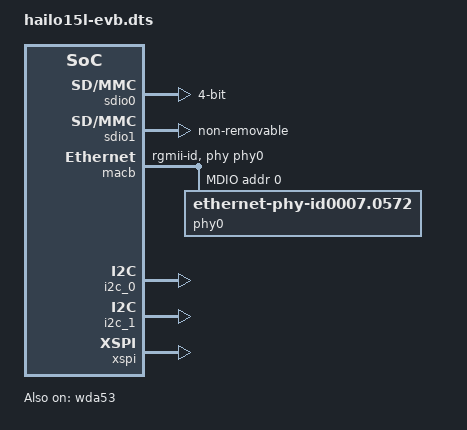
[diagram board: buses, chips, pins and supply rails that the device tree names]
// SPDX-License-Identifier: GPL-2.0
/*
 * dts file for Hailo15l EVB SoC
 *
 * Copyright (c) 2019-2024 Hailo Technologies Ltd. All rights reserved.
 */

#include "hailo15l-base.dtsi"
#include "hailo15_ddr_configuration.dtsi"
#include "hailo15l_ddr_MT53E1G32D2FW-046-C_regconfig_4GB_LP4.dtsi"
#include <dt-bindings/net/mscc-phy-vsc8531.h>

&hailo_boot_info {
    ddr_config {
        layout_swizzling_config = <0x67431052 0x67305142 0x25104763 0x62534071>;
    };
};

&sdio0 {
    status = "okay";
    sdhci-caps = <0 0x01000000>; // Force VOLT33 capability
    bus-width = <4>;

    phy-config {
            card-is-emmc = <0x0>;
            cmd-pad-values = <0x1 0x3 0x1 0x1>; // txslew_ctrl_n, txslew_ctrl_p, weakpull_enable, rxsel
            dat-pad-values = <0x1 0x3 0x1 0x1>; // txslew_ctrl_n, txslew_ctrl_p, weakpull_enable, rxsel
            rst-pad-values = <0x1 0x3 0x1 0x1>; // txslew_ctrl_n, txslew_ctrl_p, weakpull_enable, rxsel
            clk-pad-values = <0x1 0x3 0x0 0x1>; // txslew_ctrl_n, txslew_ctrl_p, weakpull_enable, rxsel
            sdclkdl-cnfg = <0x1 0x7F>; //extdly_en, cckdl_dc
            drive-strength = <0x9 0x8>; //pad_sp, pad_sn
            u-boot,dm-spl;
    };
};

&sdio1 {
    status = "okay";
    non-removable;
    phy-config {
            card-is-emmc = <0x1>;
            cmd-pad-values = <0x2 0x2 0x1 0x1>; // txslew_ctrl_n, txslew_ctrl_p, weakpull_enable, rxsel
            dat-pad-values = <0x2 0x2 0x1 0x1>; // txslew_ctrl_n, txslew_ctrl_p, weakpull_enable, rxsel
            rst-pad-values = <0x2 0x2 0x1 0x1>; // txslew_ctrl_n, txslew_ctrl_p, weakpull_enable, rxsel
            clk-pad-values = <0x2 0x2 0x0 0x0>; // txslew_ctrl_n, txslew_ctrl_p, weakpull_enable, rxsel
            sdclkdl-cnfg = <0x1 0x59>; //extdly_en, cckdl_dc
            drive-strength = <0x9 0x8>; //pad_sp, pad_sn 
            u-boot,dm-spl;   
    };
};

&macb {
    status = "okay";
    phy-mode = "rgmii-id";
    phy-handle = <&phy0>;    
    mdio {
        #address-cells = <1>;
        #size-cells = <0>;

        phy0: ethernet-phy@0 {
            compatible = "ethernet-phy-id0007.0572";
            reg = <0>;
            vsc8531,rx-clk-skew = <VSC8531_RGMII_CLK_DELAY_1_7_NS>;
            vsc8531,tx-clk-skew = <VSC8531_RGMII_CLK_DELAY_1_7_NS>;
            status = "okay";
        };
    };
};

&wda53 {
    status = "okay";
};

&hailo_boot_info {
    shutdown-gpio-pin = <11>;
};

&i2c_0 {
    status = "okay";
};

&i2c_1 {
    status = "okay";
};

&xspi {
    status = "okay";
};
